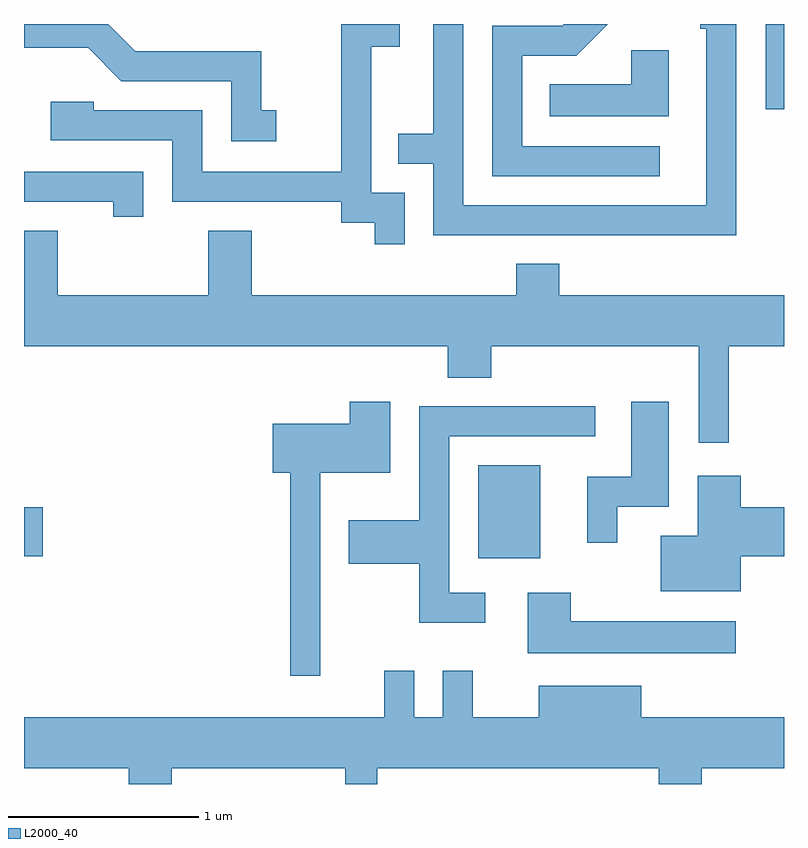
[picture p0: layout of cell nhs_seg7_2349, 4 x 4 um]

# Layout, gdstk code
import gdstk
lib = gdstk.Library(unit=1e-6, precision=1e-09)
def R(c, l, rs):  # rectangles x0, y0, x1, y1
    for r in rs: c.add(gdstk.rectangle(r[:2], r[2:], *l))
def P(c, l, *ps):  # polygons
    for p in ps: c.add(gdstk.Polygon(p, *l))
L2000_40 = (2000, 40)

nhs_seg7_2349 = lib.new_cell('nhs_seg7_2349')
R(nhs_seg7_2349, L2000_40, [(260.001,1695.441,260.329,1695.929), (257.611,1695.451,257.709,1695.709), (261.516,1697.803,261.611,1698.252)])
P(nhs_seg7_2349, L2000_40, [(258.938,1697.799),(258.859,1697.799),(258.859,1698.109),(258.197,1698.109),(258.054,1698.252),(257.611,1698.252),(257.611,1698.126),(257.949,1698.126),(258.123,1697.951),(258.701,1697.951),(258.701,1697.636),(258.938,1697.636)],
  [(261.359,1698.252),(261.171,1698.252),(261.171,1698.226),(261.201,1698.226),(261.201,1697.299),(259.924,1697.299),(259.924,1698.252),(259.766,1698.252),(259.766,1697.674),(259.582,1697.674),(259.582,1697.516),(259.766,1697.516),(259.766,1697.141),(261.359,1697.141)],
  [(260.957,1697.609),(260.234,1697.609),(260.234,1698.086),(260.517,1698.086),(260.683,1698.252),(260.452,1698.252),(260.444,1698.244),(260.076,1698.244),(260.076,1697.451),(260.957,1697.451)],
  [(259.614,1697.364),(259.439,1697.364),(259.439,1698.131),(259.589,1698.131),(259.589,1698.252),(259.281,1698.252),(259.281,1697.474),(258.549,1697.474),(258.549,1697.799),(257.979,1697.799),(257.979,1697.844),(257.751,1697.844),(257.751,1697.641),(258.391,1697.641),(258.391,1697.316),(259.281,1697.316),(259.281,1697.206),(259.456,1697.206),(259.456,1697.093),(259.614,1697.093)],
  [(261.004,1698.114),(260.806,1698.114),(260.806,1697.934),(260.378,1697.934),(260.378,1697.766),(261.004,1697.766)],
  [(258.239,1697.474),(257.611,1697.474),(257.611,1697.316),(258.081,1697.316),(258.081,1697.238),(258.239,1697.238)],
  [(261.319,1696.556),(261.611,1696.556),(261.611,1696.824),(260.429,1696.824),(260.429,1696.989),(260.201,1696.989),(260.201,1696.824),(258.809,1696.824),(258.809,1697.164),(258.581,1697.164),(258.581,1696.824),(257.789,1696.824),(257.789,1697.164),(257.611,1697.164),(257.611,1696.556),(259.841,1696.556),(259.841,1696.391),(260.069,1696.391),(260.069,1696.556),(261.161,1696.556),(261.161,1696.048),(261.319,1696.048)],
  [(260.734,1695.711),(261.004,1695.711),(261.004,1696.264),(260.806,1696.264),(260.806,1695.869),(260.576,1695.869),(260.576,1695.523),(260.734,1695.523)],
  [(259.169,1695.891),(259.539,1695.891),(259.539,1696.264),(259.326,1696.264),(259.326,1696.149),(258.921,1696.149),(258.921,1695.891),(259.011,1695.891),(259.011,1694.823),(259.169,1694.823)],
  [(260.038,1695.259),(259.849,1695.259),(259.849,1696.081),(260.618,1696.081),(260.618,1696.239),(259.691,1696.239),(259.691,1695.639),(259.321,1695.639),(259.321,1695.411),(259.691,1695.411),(259.691,1695.101),(260.038,1695.101)],
  [(261.384,1695.451),(261.611,1695.451),(261.611,1695.709),(261.384,1695.709),(261.384,1695.874),(261.156,1695.874),(261.156,1695.559),(260.961,1695.559),(260.961,1695.266),(261.384,1695.266)],
  [(261.358,1695.109),(260.489,1695.109),(260.489,1695.259),(260.261,1695.259),(260.261,1694.941),(261.358,1694.941)],
  [(258.389,1694.336),(259.301,1694.336),(259.301,1694.252),(259.469,1694.252),(259.469,1694.336),(260.951,1694.336),(260.951,1694.252),(261.179,1694.252),(261.179,1694.336),(261.611,1694.336),(261.611,1694.604),(260.859,1694.604),(260.859,1694.769),(260.321,1694.769),(260.321,1694.604),(259.974,1694.604),(259.974,1694.848),(259.816,1694.848),(259.816,1694.604),(259.664,1694.604),(259.664,1694.848),(259.506,1694.848),(259.506,1694.604),(257.611,1694.604),(257.611,1694.336),(258.161,1694.336),(258.161,1694.252),(258.389,1694.252)])

lib.write_gds('nhs_seg7_2349.gds')
